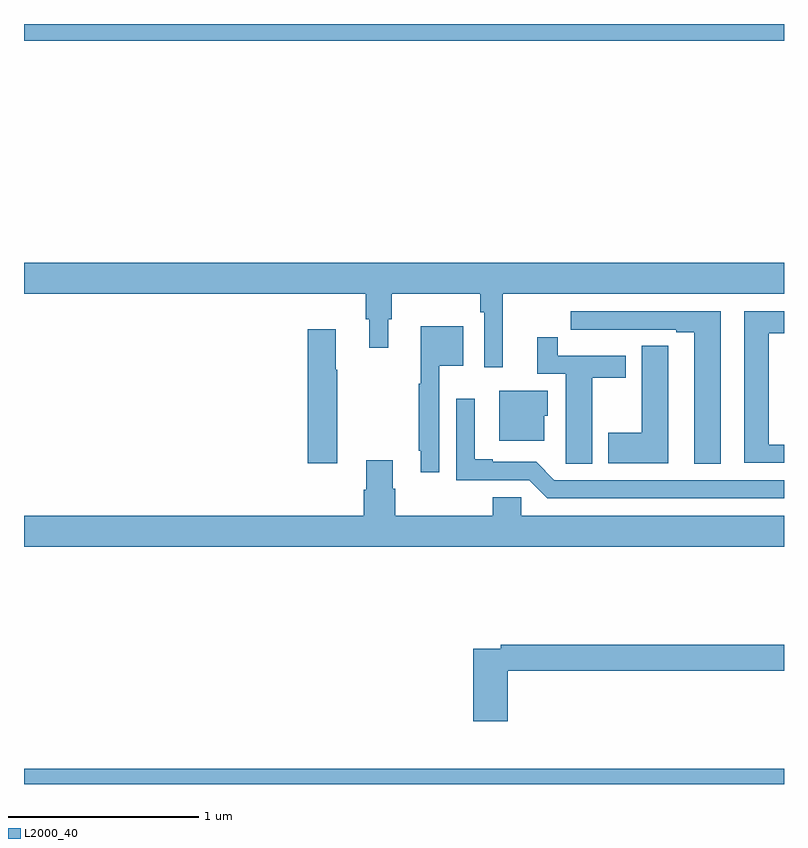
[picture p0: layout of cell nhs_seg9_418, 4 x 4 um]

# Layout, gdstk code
import gdstk
lib = gdstk.Library(unit=1e-6, precision=1e-09)
def R(c, l, rs):  # rectangles x0, y0, x1, y1
    for r in rs: c.add(gdstk.rectangle(r[:2], r[2:], *l))
def P(c, l, *ps):  # polygons
    for p in ps: c.add(gdstk.Polygon(p, *l))
L2000_40 = (2000, 40)

nhs_seg9_418 = lib.new_cell('nhs_seg9_418')
R(nhs_seg9_418, L2000_40, [(131,1200.5,135,1200.58), (131,1204.412,135,1204.5)])
P(nhs_seg9_418, L2000_40, [(133.52,1203.08),(135,1203.08),(135,1203.244),(131,1203.244),(131,1203.08),(132.799,1203.08),(132.799,1202.946),(132.818,1202.946),(132.818,1202.796),(132.916,1202.796),(132.916,1202.946),(132.935,1202.946),(132.935,1203.08),(133.402,1203.08),(133.402,1202.984),(133.422,1202.984),(133.422,1202.694),(133.52,1202.694)],
  [(134.668,1202.988),(133.878,1202.988),(133.878,1202.892),(133.99,1202.892),(133.99,1202.891),(134.156,1202.891),(134.156,1202.892),(134.432,1202.892),(134.432,1202.877),(134.528,1202.877),(134.528,1202.185),(134.668,1202.185)],
  [(135,1202.286),(134.92,1202.286),(134.92,1202.872),(135,1202.872),(135,1202.988),(134.792,1202.988),(134.792,1202.19),(135,1202.19)],
  [(133.185,1202.702),(133.312,1202.702),(133.312,1202.908),(133.088,1202.908),(133.088,1202.606),(133.077,1202.606),(133.077,1202.254),(133.088,1202.254),(133.088,1202.142),(133.185,1202.142)],
  [(132.648,1202.68),(132.64,1202.68),(132.64,1202.893),(132.494,1202.893),(132.494,1202.187),(132.648,1202.187)],
  [(133.99,1202.638),(134.167,1202.638),(134.167,1202.754),(133.808,1202.754),(133.808,1202.851),(133.7,1202.851),(133.7,1202.658),(133.85,1202.658),(133.85,1202.296),(133.851,1202.296),(133.851,1202.185),(133.99,1202.185)],
  [(134.392,1202.699),(134.391,1202.699),(134.391,1202.807),(134.252,1202.807),(134.252,1202.349),(134.075,1202.349),(134.075,1202.189),(134.392,1202.189)],
  [(133.738,1202.439),(133.756,1202.439),(133.756,1202.569),(133.502,1202.569),(133.502,1202.306),(133.738,1202.306)],
  [(135,1202.1),(133.791,1202.1),(133.695,1202.196),(133.468,1202.196),(133.468,1202.209),(133.372,1202.209),(133.372,1202.527),(133.275,1202.527),(133.275,1202.1),(133.659,1202.1),(133.755,1202.004),(135,1202.004)],
  [(135,1201.912),(133.617,1201.912),(133.617,1202.01),(133.466,1202.01),(133.466,1201.912),(132.953,1201.912),(132.953,1202.054),(132.94,1202.054),(132.94,1202.203),(132.8,1202.203),(132.8,1202.049),(132.788,1202.049),(132.788,1201.912),(131,1201.912),(131,1201.748),(135,1201.748)],
  [(133.547,1201.096),(135,1201.096),(135,1201.232),(133.51,1201.232),(133.51,1201.212),(133.364,1201.212),(133.364,1200.831),(133.547,1200.831)])

lib.write_gds('nhs_seg9_418.gds')
